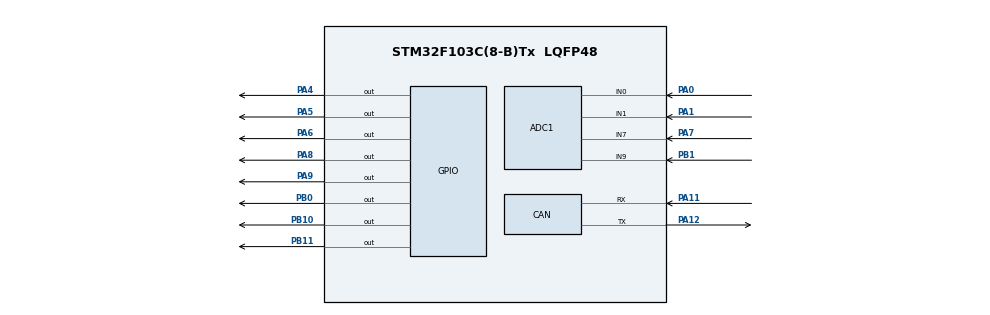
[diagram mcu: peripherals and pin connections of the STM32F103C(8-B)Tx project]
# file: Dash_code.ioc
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ADC1.Channel-0\#ChannelRegularConversion=ADC_CHANNEL_1
ADC1.NbrOfConversionFlag=1
ADC1.Rank-0\#ChannelRegularConversion=1
ADC1.SamplingTime-0\#ChannelRegularConversion=ADC_SAMPLETIME_1CYCLE_5
ADC1.master=1
CAN.CalculateTimeBit=6000
CAN.CalculateTimeQuantum=2000.0
Mcu.Family=STM32F1
Mcu.Name=STM32F103C(8-B)Tx
Mcu.Package=LQFP48
NVIC.PriorityGroup=NVIC_PRIORITYGROUP_4
PA0-WKUP.Signal=ADCx_IN0
PA1.Signal=ADCx_IN1
PA11.Mode=Master
PA11.Signal=CAN_RX
PA12.Mode=Master
PA12.Signal=CAN_TX
PA4.Signal=GPIO_Output
PA5.Signal=GPIO_Output
PA6.Signal=GPIO_Output
PA7.Signal=ADCx_IN7
PA8.Signal=GPIO_Output
PA9.Signal=GPIO_Output
PB0.Signal=GPIO_Output
PB1.Signal=ADCx_IN9
PB10.Signal=GPIO_Output
PB11.Signal=GPIO_Output
ProjectManager.HeapSize=0x200
ProjectManager.StackSize=0x400
ProjectManager.TargetToolchain=Makefile
RCC.APB1Freq_Value=8000000
RCC.APB2Freq_Value=8000000
SH.ADCx_IN0.0=ADC1_IN0,IN0
SH.ADCx_IN1.0=ADC1_IN1,IN1
SH.ADCx_IN7.0=ADC1_IN7,IN7
SH.ADCx_IN9.0=ADC1_IN9,IN9
VP_SYS_VS_ND.Mode=No_Debug
board=custom

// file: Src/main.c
/* USER CODE BEGIN Header */
/**
  ******************************************************************************
  * @file           : main.c
  * @brief          : Main program body
  ******************************************************************************
  ** This notice applies to any and all portions of this file
  * that are not between comment pairs USER CODE BEGIN and
  * USER CODE END. Other portions of this file, whether
  * inserted by the user or by software development tools
  * are owned by their respective copyright owners.
  *
  * COPYRIGHT(c) 2019 STMicroelectronics
  *
  * Redistribution and use in source and binary forms, with or without modification,
  * are permitted provided that the following conditions are met:
  *   1. Redistributions of source code must retain the above copyright notice,
  *      this list of conditions and the following disclaimer.
  *   2. Redistributions in binary form must reproduce the above copyright notice,
  *      this list of conditions and the following disclaimer in the documentation
  *      and/or other materials provided with the distribution.
  *   3. Neither the name of STMicroelectronics nor the names of its contributors
  *      may be used to endorse or promote products derived from this software
  *      without specific prior written permission.
  *
  * THIS SOFTWARE IS PROVIDED BY THE COPYRIGHT HOLDERS AND CONTRIBUTORS "AS IS"
  * AND ANY EXPRESS OR IMPLIED WARRANTIES, INCLUDING, BUT NOT LIMITED TO, THE
  * IMPLIED WARRANTIES OF MERCHANTABILITY AND FITNESS FOR A PARTICULAR PURPOSE ARE
  * DISCLAIMED. IN NO EVENT SHALL THE COPYRIGHT HOLDER OR CONTRIBUTORS BE LIABLE
  * FOR ANY DIRECT, INDIRECT, INCIDENTAL, SPECIAL, EXEMPLARY, OR CONSEQUENTIAL
  * DAMAGES (INCLUDING, BUT NOT LIMITED TO, PROCUREMENT OF SUBSTITUTE GOODS OR
  * SERVICES; LOSS OF USE, DATA, OR PROFITS; OR BUSINESS INTERRUPTION) HOWEVER
  * CAUSED AND ON ANY THEORY OF LIABILITY, WHETHER IN CONTRACT, STRICT LIABILITY,
  * OR TORT (INCLUDING NEGLIGENCE OR OTHERWISE) ARISING IN ANY WAY OUT OF THE USE
  * OF THIS SOFTWARE, EVEN IF ADVISED OF THE POSSIBILITY OF SUCH DAMAGE.
  *
  ******************************************************************************
  */
/* USER CODE END Header */

#include "main.h"

/* USER CODE BEGIN Includes */
//#include "stm32f0xx_hal.h"
/* USER CODE END Includes */

ADC_HandleTypeDef hadc1;
CAN_HandleTypeDef hcan;
/* USER CODE BEGIN PV */
uint16_t adc0,adc1,adc7,adc9;
uint16_t g_ADCValue;
ADC_ChannelConfTypeDef sConfig;
//UART_HandleTypeDef huart1;
/* USER CODE END PV */

void SystemClock_Config(void);
static void MX_GPIO_Init(void);
static void MX_CAN_Init(void);
static void MX_ADC1_Init(void);
//static void MX_USART1_UART_Init(void);
/* USER CODE BEGIN PFP */
uint16_t readADC_Val(void);
__weak void HAL_ADC_ConvCpltCallback(ADC_HandleTypeDef*);
/* USER CODE END PFP */

int main(void)
{

  /* MCU Configuration--------------------------------------------------------*/

  /* Reset of all peripherals, Initializes the Flash interface and the Systick. */
  HAL_Init();

  /* Configure the system clock */
  SystemClock_Config();

  /* Initialize all configured peripherals */
  MX_GPIO_Init();
  MX_ADC1_Init();
  /* USER CODE BEGIN 2 */
  HAL_GPIO_TogglePin(GPIOB, GPIO_PIN_10);
  HAL_GPIO_TogglePin(GPIOB, GPIO_PIN_11);
  HAL_GPIO_TogglePin(GPIOB, GPIO_PIN_0);
  //ConfigureADC();
  HAL_ADC_Start_IT(&hadc1);
  //HAL_ADC_Start_IT(&g_AdcHandle);
  /*
  sConfig.Channel = ADC_CHANNEL_0;
  adc0 = readADC_Val();
  sConfig.Channel = ADC_CHANNEL_1;
  adc1 = readADC_Val();
  sConfig.Channel = ADC_CHANNEL_7;
  adc7 = readADC_Val();
  sConfig.Channel = ADC_CHANNEL_9;
  adc9 = readADC_Val();
  */
	//send
    MX_CAN_Init();
    hcan.pTxMsg->StdId = 0x321;
	hcan.pTxMsg->ExtId = 0x01;
	hcan.pTxMsg->RTR = CAN_RTR_DATA;
	hcan.pTxMsg->IDE = CAN_ID_STD;
	hcan.pTxMsg->DLC = 1;
	hcan.pTxMsg->Data[0] = 0x55;

	//receive
	//HAL_CAN_Receive_IT(&hcan, CAN_FIFO0);
  /* USER CODE END 2 */

  /* Infinite loop */
  /* USER CODE BEGIN WHILE */
  while (1)
  {/**/
    //sConfig.Channel = ADC_CHANNEL_0;
    //adc0 = readADC_Val();
	//int adcVal = 2148 / 4096 * 3.3
	HAL_ADC_PollForConversion(&hadc1, 1000);

	if (g_ADCValue > 0x0020)
		HAL_GPIO_TogglePin(GPIOA, GPIO_PIN_6);
	else
		HAL_GPIO_TogglePin(GPIOA, GPIO_PIN_5);
	/*
	hcan.pTxMsg->Data[0] = g_ADCValue >> 8;
	hcan.pTxMsg->Data[1] = g_ADCValue & 0xFF;

	if (HAL_CAN_Transmit(&hcan, 100) == HAL_TIMEOUT)
	{
		//HAL_GPIO_TogglePin(GPIOB, GPIO_PIN_10);
		HAL_GPIO_TogglePin(GPIOA, GPIO_PIN_4);
		//Error_Handler();
	}	*/
	//HAL_Delay(100);
	//HAL_GPIO_TogglePin(GPIOB, GPIO_PIN_10);
    /* USER CODE END WHILE */

    /* USER CODE BEGIN 3 */
	HAL_Delay(100);
  }
  /* USER CODE END 3 */
}

void SystemClock_Config(void)
{
  RCC_OscInitTypeDef RCC_OscInitStruct = {0};
  RCC_ClkInitTypeDef RCC_ClkInitStruct = {0};
  RCC_PeriphCLKInitTypeDef PeriphClkInit = {0};

  /**Initializes the CPU, AHB and APB busses clocks
  */
  RCC_OscInitStruct.OscillatorType = RCC_OSCILLATORTYPE_HSI;
  RCC_OscInitStruct.HSIState = RCC_HSI_ON;
  RCC_OscInitStruct.HSICalibrationValue = RCC_HSICALIBRATION_DEFAULT;
  RCC_OscInitStruct.PLL.PLLState = RCC_PLL_NONE;
  if (HAL_RCC_OscConfig(&RCC_OscInitStruct) != HAL_OK)
  {
    Error_Handler();
  }
  /**Initializes the CPU, AHB and APB busses clocks
  */
  RCC_ClkInitStruct.ClockType = RCC_CLOCKTYPE_HCLK|RCC_CLOCKTYPE_SYSCLK
                              |RCC_CLOCKTYPE_PCLK1|RCC_CLOCKTYPE_PCLK2;
  RCC_ClkInitStruct.SYSCLKSource = RCC_SYSCLKSOURCE_HSI;
  RCC_ClkInitStruct.AHBCLKDivider = RCC_SYSCLK_DIV1;
  RCC_ClkInitStruct.APB1CLKDivider = RCC_HCLK_DIV1;
  RCC_ClkInitStruct.APB2CLKDivider = RCC_HCLK_DIV1;

  if (HAL_RCC_ClockConfig(&RCC_ClkInitStruct, FLASH_LATENCY_0) != HAL_OK)
  {
    Error_Handler();
  }
  PeriphClkInit.PeriphClockSelection = RCC_PERIPHCLK_ADC;
  PeriphClkInit.AdcClockSelection = RCC_ADCPCLK2_DIV2;
  if (HAL_RCCEx_PeriphCLKConfig(&PeriphClkInit) != HAL_OK)
  {
    Error_Handler();
  }
}

static void MX_ADC1_Init(void)
{

  ADC_ChannelConfTypeDef sConfig = {0};

  /**Common config
  */
  hadc1.Instance = ADC1;
  hadc1.Init.ScanConvMode = ADC_SCAN_DISABLE;
  hadc1.Init.ContinuousConvMode = DISABLE;
  hadc1.Init.DiscontinuousConvMode = DISABLE;
  hadc1.Init.ExternalTrigConv = ADC_SOFTWARE_START;
  hadc1.Init.DataAlign = ADC_DATAALIGN_RIGHT;
  hadc1.Init.NbrOfConversion = 1;
  if (HAL_ADC_Init(&hadc1) != HAL_OK)
  {
    Error_Handler();
  }
  /**Configure Regular Channel
  */
  sConfig.Channel = ADC_CHANNEL_0;
  sConfig.Rank = ADC_REGULAR_RANK_1;
  sConfig.SamplingTime = ADC_SAMPLETIME_1CYCLE_5;
  if (HAL_ADC_ConfigChannel(&hadc1, &sConfig) != HAL_OK)
  {
    Error_Handler();
  }

}

static void MX_CAN_Init(void)
{

  /* USER CODE BEGIN CAN_Init 1 */
  	static CanTxMsgTypeDef TxMessage;
	//static CanRxMsgTypeDef RxMessage;

	hcan.pTxMsg = &TxMessage;
	//hcan.pRxMsg = &RxMessage;
	//CAN_FilterConfTypeDef	sFilterConfig;
/**/
  hcan.Instance = CAN1;
  hcan.Init.Prescaler = 2;
  hcan.Init.Mode = CAN_MODE_LOOPBACK;
  hcan.Init.SJW = CAN_SJW_1TQ;
  hcan.Init.BS1 = CAN_BS1_3TQ;
  hcan.Init.BS2 = CAN_BS2_4TQ;
  hcan.Init.TTCM = DISABLE;
  hcan.Init.ABOM = ENABLE;
  hcan.Init.AWUM = DISABLE;
  hcan.Init.NART = DISABLE;
  hcan.Init.RFLM = DISABLE;
  hcan.Init.TXFP = DISABLE;

  /* USER CODE END CAN_Init 1
  hcan.Instance = CAN1;
  hcan.Init.Prescaler = 16;
  hcan.Init.Mode = CAN_MODE_NORMAL;
  hcan.Init.SyncJumpWidth = CAN_SJW_1TQ;
  hcan.Init.TimeSeg1 = CAN_BS1_1TQ;
  hcan.Init.TimeSeg2 = CAN_BS2_1TQ;
  hcan.Init.TimeTriggeredMode = DISABLE;
  hcan.Init.AutoBusOff = DISABLE;
  hcan.Init.AutoWakeUp = DISABLE;
  hcan.Init.AutoRetransmission = DISABLE;
  hcan.Init.ReceiveFifoLocked = DISABLE;
  hcan.Init.TransmitFifoPriority = DISABLE;*/
  if (HAL_CAN_Init(&hcan) != HAL_OK)
  {
    Error_Handler();
  }
  /* USER CODE BEGIN CAN_Init 2
	sFilterConfig.FilterNumber = 0;
	sFilterConfig.FilterMode = CAN_FILTERMODE_IDMASK;
	sFilterConfig.FilterScale = CAN_FILTERSCALE_32BIT;
	sFilterConfig.FilterIdHigh = 0x0000;
	sFilterConfig.FilterIdLow = 0x0000;
	sFilterConfig.FilterMaskIdHigh = 0x0000;
	sFilterConfig.FilterMaskIdLow = 0x0000;
	sFilterConfig.FilterFIFOAssignment = CAN_FIFO0;
	sFilterConfig.FilterActivation = ENABLE;

	HAL_CAN_ConfigFilter(&hcan, &sFilterConfig);*/

  /* USER CODE END CAN_Init 2 */

}
void HAL_CAN_RxCpltCallback(CAN_HandleTypeDef *CanHandle)
{
	//unsigned char data[8];
	//data[0] = hcan.pRxMsg->Data[0];
	//HAL_UART_Transmit(&huart1, data, sizeof(data), 1000);

	if (hcan.pRxMsg->StdId == 0x80)
	{
		HAL_GPIO_TogglePin(GPIOB, GPIO_PIN_10);
	}

	/* Re-enable Rx interrupt */
	HAL_CAN_Receive_IT(&hcan, CAN_FIFO0);

}

static void MX_GPIO_Init(void)
{
  GPIO_InitTypeDef GPIO_InitStruct = {0};

  /* GPIO Ports Clock Enable */
  __HAL_RCC_GPIOA_CLK_ENABLE();
  __HAL_RCC_GPIOB_CLK_ENABLE();

  /*Configure GPIO pin Output Level */
  HAL_GPIO_WritePin(GPIOA, GPIO_PIN_4|GPIO_PIN_5|GPIO_PIN_6|GPIO_PIN_8
                          |GPIO_PIN_9, GPIO_PIN_RESET);

  /*Configure GPIO pin Output Level */
  HAL_GPIO_WritePin(GPIOB, GPIO_PIN_0|GPIO_PIN_10|GPIO_PIN_11, GPIO_PIN_RESET);

  /*Configure GPIO pins : PA4 PA5 PA6 PA8
                           PA9 */
  GPIO_InitStruct.Pin = GPIO_PIN_4|GPIO_PIN_5|GPIO_PIN_6|GPIO_PIN_8
                          |GPIO_PIN_9;
  GPIO_InitStruct.Mode = GPIO_MODE_OUTPUT_PP;
  GPIO_InitStruct.Pull = GPIO_NOPULL;
  GPIO_InitStruct.Speed = GPIO_SPEED_FREQ_LOW;
  HAL_GPIO_Init(GPIOA, &GPIO_InitStruct);

  /*Configure GPIO pins : PB0 PB10 PB11 */
  GPIO_InitStruct.Pin = GPIO_PIN_0|GPIO_PIN_10|GPIO_PIN_11;
  GPIO_InitStruct.Mode = GPIO_MODE_OUTPUT_PP;
  GPIO_InitStruct.Pull = GPIO_NOPULL;
  GPIO_InitStruct.Speed = GPIO_SPEED_FREQ_LOW;
  HAL_GPIO_Init(GPIOB, &GPIO_InitStruct);

}

/* USER CODE BEGIN 4 */
uint16_t readADC_Val(void)
{
	//chConfig.Channel = channel; //configure channel to be read
	sConfig.Rank =  ADC_REGULAR_RANK_1;
	sConfig.SamplingTime = ADC_SAMPLETIME_1CYCLE_5;
	HAL_ADC_ConfigChannel(&hadc1, &sConfig);

	HAL_ADC_Start(&hadc1);
	HAL_ADCEx_Calibration_Start(&hadc1);

	uint32_t value = HAL_ADC_GetValue(&hadc1);

	HAL_ADC_Stop(&hadc1);
	sConfig.Rank = ADC_REGULAR_RANK_1;
	HAL_ADC_ConfigChannel(&hadc1,&sConfig);

	uint16_t value2 = (uint16_t)value;
	//sprintf(TextBuffer,"%u\n",value2);
	return value2;
}

/*Interrupt Functions for ADC*/

	void HAL_ADC_ConvCpltCallback(ADC_HandleTypeDef* AdcHandle){
		g_ADCValue = HAL_ADC_GetValue(AdcHandle);
	}

    void ADC_IRQHandler(){
        HAL_ADC_IRQHandler(&hadc1);
    }

/* USER CODE END 4 */

void Error_Handler(void)
{
}

/************************ (C) COPYRIGHT STMicroelectronics *****END OF FILE****/
